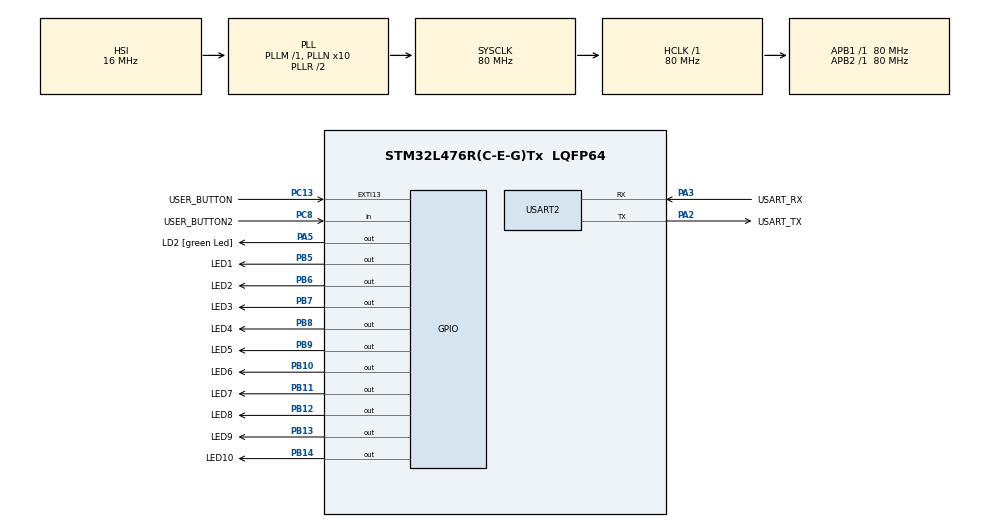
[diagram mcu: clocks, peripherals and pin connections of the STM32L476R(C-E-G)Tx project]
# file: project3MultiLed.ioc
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Mcu.Family=STM32L4
Mcu.Name=STM32L476R(C-E-G)Tx
Mcu.Package=LQFP64
NVIC.PriorityGroup=NVIC_PRIORITYGROUP_4
PA13\ (JTMS-SWDIO).GPIO_Label=TMS
PA13\ (JTMS-SWDIO).Mode=Serial_Wire
PA13\ (JTMS-SWDIO).Signal=SYS_JTMS-SWDIO
PA14\ (JTCK-SWCLK).GPIO_Label=TCK
PA14\ (JTCK-SWCLK).Mode=Serial_Wire
PA14\ (JTCK-SWCLK).Signal=SYS_JTCK-SWCLK
PA2.GPIO_Label=USART_TX
PA2.GPIO_Mode=GPIO_MODE_AF_PP
PA2.GPIO_PuPd=GPIO_NOPULL
PA2.GPIO_Speed=GPIO_SPEED_FREQ_VERY_HIGH
PA2.Mode=Asynchronous
PA2.Signal=USART2_TX
PA3.GPIO_Label=USART_RX
PA3.GPIO_Mode=GPIO_MODE_AF_PP
PA3.GPIO_PuPd=GPIO_NOPULL
PA3.GPIO_Speed=GPIO_SPEED_FREQ_VERY_HIGH
PA3.Mode=Asynchronous
PA3.Signal=USART2_RX
PA5.GPIO_Label=LD2 [green Led]
PA5.GPIO_ModeDefaultOutputPP=GPIO_MODE_OUTPUT_PP
PA5.GPIO_PuPd=GPIO_NOPULL
PA5.GPIO_Speed=GPIO_SPEED_FREQ_LOW
PA5.Signal=GPIO_Output
PB10.GPIO_Label=LED6
PB10.Signal=GPIO_Output
PB11.GPIO_Label=LED7
PB11.Signal=GPIO_Output
PB12.GPIO_Label=LED8
PB12.Signal=GPIO_Output
PB13.GPIO_Label=LED9
PB13.Signal=GPIO_Output
PB14.GPIO_Label=LED10
PB14.Signal=GPIO_Output
PB3\ (JTDO-TRACESWO).GPIO_Label=SWO
PB3\ (JTDO-TRACESWO).Signal=SYS_JTDO-SWO
PB5.GPIO_Label=LED1
PB5.Signal=GPIO_Output
PB6.GPIO_Label=LED2
PB6.Signal=GPIO_Output
PB7.GPIO_Label=LED3
PB7.Signal=GPIO_Output
PB8.GPIO_Label=LED4
PB8.Signal=GPIO_Output
PB9.GPIO_Label=LED5
PB9.Signal=GPIO_Output
PC13.GPIO_Label=USER_BUTTON
PC13.GPIO_ModeDefaultEXTI=GPIO_MODE_IT_FALLING
PC13.GPIO_PuPd=GPIO_NOPULL
PC13.Signal=GPXTI13
PC14-OSC32_IN\ (PC14).Mode=LSE-External-Oscillator
PC14-OSC32_IN\ (PC14).Signal=RCC_OSC32_IN
PC15-OSC32_OUT\ (PC15).Mode=LSE-External-Oscillator
PC15-OSC32_OUT\ (PC15).Signal=RCC_OSC32_OUT
PC8.GPIO_Label=USER_BUTTON2
PC8.GPIO_PuPd=GPIO_PULLUP
PC8.Signal=GPIO_Input
PH0-OSC_IN\ (PH0).Signal=RCC_OSC_IN
PH1-OSC_OUT\ (PH1).Signal=RCC_OSC_OUT
ProjectManager.HeapSize=0x200
ProjectManager.StackSize=0x400
ProjectManager.TargetToolchain=STM32CubeIDE
RCC.ADCFreq_Value=64000000
RCC.AHBFreq_Value=80000000
RCC.APB1Freq_Value=80000000
RCC.APB1TimFreq_Value=80000000
RCC.APB2Freq_Value=80000000
RCC.APB2TimFreq_Value=80000000
RCC.CortexFreq_Value=80000000
RCC.HCLKFreq_Value=80000000
RCC.HSE_VALUE=8000000
RCC.HSI_VALUE=16000000
RCC.MSI_VALUE=4000000
RCC.PLLN=10
RCC.PLLSourceVirtual=RCC_PLLSOURCE_HSI
RCC.PREFETCH_ENABLE=1
RCC.SYSCLKFreq_VALUE=80000000
RCC.SYSCLKSource=RCC_SYSCLKSOURCE_PLLCLK
RCC.USBFreq_Value=64000000
RCC.VCOOutputFreq_Value=160000000
USART2.VirtualMode-Asynchronous=VM_ASYNC
board=NUCLEO-L476RG

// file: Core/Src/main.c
/* USER CODE BEGIN Header */
/**
  ******************************************************************************
  * @file           : main.c
  * @brief          : Main program body
  ******************************************************************************
  * @attention
  *
  * Copyright (c) 2024 STMicroelectronics.
  * All rights reserved.
  *
  * This software is licensed under terms that can be found in the LICENSE file
  * in the root directory of this software component.
  * If no LICENSE file comes with this software, it is provided AS-IS.
  *
  ******************************************************************************
  */
/* USER CODE END Header */
#include "main.h"
/* USER CODE BEGIN Includes */
#include <stdbool.h>
/* USER CODE END Includes */

/* USER CODE BEGIN PTD */

typedef struct {
	GPIO_TypeDef* port;
	uint16_t pin;
}pin_t;

/* USER CODE END PTD */

UART_HandleTypeDef huart2;

/* USER CODE BEGIN PV */

static const pin_t LED[] = {
		{ LED1_GPIO_Port, LED1_Pin },
		{ LED2_GPIO_Port, LED2_Pin },
		{ LED3_GPIO_Port, LED3_Pin },
		{ LED4_GPIO_Port, LED4_Pin },
		{ LED5_GPIO_Port, LED5_Pin },
		{ LED6_GPIO_Port, LED6_Pin },
		{ LED7_GPIO_Port, LED7_Pin },
		{ LED8_GPIO_Port, LED8_Pin },
		{ LED9_GPIO_Port, LED9_Pin },
		{ LED10_GPIO_Port, LED10_Pin },
};

/* USER CODE END PV */

void SystemClock_Config(void);
static void MX_GPIO_Init(void);
static void MX_USART2_UART_Init(void);
/* USER CODE BEGIN PFP */
void led_set(int led, bool turn_on);
bool is_button_pressed(int button);
/* USER CODE END PFP */

/* USER CODE BEGIN 0 */

void led_set(int led, bool turn_on)
{
	GPIO_PinState state = (turn_on) ? GPIO_PIN_SET : GPIO_PIN_RESET;

	if (led >= 0 && led < 10) {
		HAL_GPIO_WritePin(LED[led].port, LED[led].pin, state);
        }
}

bool is_button_pressed(int button) {
  switch (button) {
  case 0:
    if (HAL_GPIO_ReadPin(USER_BUTTON_GPIO_Port, USER_BUTTON_Pin) == GPIO_PIN_RESET) {
      return true;
    } else {
      return false;
    }
  case 1:
    if (HAL_GPIO_ReadPin(USER_BUTTON2_GPIO_Port, USER_BUTTON2_Pin) == GPIO_PIN_RESET) {
      return true;
    } else {
      return false;
    }

  default:
    return false;
  }
}
/* USER CODE END 0 */

int main(void)
{

  /* MCU Configuration--------------------------------------------------------*/

  /* Reset of all peripherals, Initializes the Flash interface and the Systick. */
  HAL_Init();

  /* Configure the system clock */
  SystemClock_Config();

  /* Initialize all configured peripherals */
  MX_GPIO_Init();
  MX_USART2_UART_Init();

  /* Infinite loop */
  /* USER CODE BEGIN WHILE */
  int led = 0;
  led_set(led, true);
  while (1)
  {
    // sprawdź czy przycisk jest wciśnięty
    if (is_button_pressed(0)) {
      // jeśli tak to zgaś aktualną diodę
      led_set(led, false);
      // wybierz kolejną
      if (++led >= 10)
        led = 0;
      // zapal nową diodę
      led_set(led, true);

      // czekamy na zwolnienie przycisku
      while (is_button_pressed(0))
        {}
    }

    // sprawdź czy drugi przycisk jest wciśnięty
    if (is_button_pressed(1)) {
      // jeśli tak to zgaś aktualną diodę
      led_set(led, false);
      // wybierz kolejną
      if (--led < 0)
        led = 9;
      // zapal nową diodę
      led_set(led, true);

      // oczekiwanie na ustanie drgań styków
      HAL_Delay(20);

      // czekamy na zwolnienie przycisku
      while (is_button_pressed(1))
        {}
      // opóźnienie na wypadek drgań po zwolnieniu przycisku
      HAL_Delay(20);
    }
    /* USER CODE END WHILE */

  }
}

void SystemClock_Config(void)
{
  RCC_OscInitTypeDef RCC_OscInitStruct = {0};
  RCC_ClkInitTypeDef RCC_ClkInitStruct = {0};

  /** Configure the main internal regulator output voltage
  */
  if (HAL_PWREx_ControlVoltageScaling(PWR_REGULATOR_VOLTAGE_SCALE1) != HAL_OK)
  {
    Error_Handler();
  }

  /** Initializes the RCC Oscillators according to the specified parameters
  * in the RCC_OscInitTypeDef structure.
  */
  RCC_OscInitStruct.OscillatorType = RCC_OSCILLATORTYPE_HSI;
  RCC_OscInitStruct.HSIState = RCC_HSI_ON;
  RCC_OscInitStruct.HSICalibrationValue = RCC_HSICALIBRATION_DEFAULT;
  RCC_OscInitStruct.PLL.PLLState = RCC_PLL_ON;
  RCC_OscInitStruct.PLL.PLLSource = RCC_PLLSOURCE_HSI;
  RCC_OscInitStruct.PLL.PLLM = 1;
  RCC_OscInitStruct.PLL.PLLN = 10;
  RCC_OscInitStruct.PLL.PLLP = RCC_PLLP_DIV7;
  RCC_OscInitStruct.PLL.PLLQ = RCC_PLLQ_DIV2;
  RCC_OscInitStruct.PLL.PLLR = RCC_PLLR_DIV2;
  if (HAL_RCC_OscConfig(&RCC_OscInitStruct) != HAL_OK)
  {
    Error_Handler();
  }

  /** Initializes the CPU, AHB and APB buses clocks
  */
  RCC_ClkInitStruct.ClockType = RCC_CLOCKTYPE_HCLK|RCC_CLOCKTYPE_SYSCLK
                              |RCC_CLOCKTYPE_PCLK1|RCC_CLOCKTYPE_PCLK2;
  RCC_ClkInitStruct.SYSCLKSource = RCC_SYSCLKSOURCE_PLLCLK;
  RCC_ClkInitStruct.AHBCLKDivider = RCC_SYSCLK_DIV1;
  RCC_ClkInitStruct.APB1CLKDivider = RCC_HCLK_DIV1;
  RCC_ClkInitStruct.APB2CLKDivider = RCC_HCLK_DIV1;

  if (HAL_RCC_ClockConfig(&RCC_ClkInitStruct, FLASH_LATENCY_4) != HAL_OK)
  {
    Error_Handler();
  }
}

static void MX_USART2_UART_Init(void)
{

  huart2.Instance = USART2;
  huart2.Init.BaudRate = 115200;
  huart2.Init.WordLength = UART_WORDLENGTH_8B;
  huart2.Init.StopBits = UART_STOPBITS_1;
  huart2.Init.Parity = UART_PARITY_NONE;
  huart2.Init.Mode = UART_MODE_TX_RX;
  huart2.Init.HwFlowCtl = UART_HWCONTROL_NONE;
  huart2.Init.OverSampling = UART_OVERSAMPLING_16;
  huart2.Init.OneBitSampling = UART_ONE_BIT_SAMPLE_DISABLE;
  huart2.AdvancedInit.AdvFeatureInit = UART_ADVFEATURE_NO_INIT;
  if (HAL_UART_Init(&huart2) != HAL_OK)
  {
    Error_Handler();
  }

}

static void MX_GPIO_Init(void)
{
  GPIO_InitTypeDef GPIO_InitStruct = {0};

  /* GPIO Ports Clock Enable */
  __HAL_RCC_GPIOC_CLK_ENABLE();
  __HAL_RCC_GPIOH_CLK_ENABLE();
  __HAL_RCC_GPIOA_CLK_ENABLE();
  __HAL_RCC_GPIOB_CLK_ENABLE();

  /*Configure GPIO pin Output Level */
  HAL_GPIO_WritePin(LD2_GPIO_Port, LD2_Pin, GPIO_PIN_RESET);

  /*Configure GPIO pin Output Level */
  HAL_GPIO_WritePin(GPIOB, LED6_Pin|LED7_Pin|LED8_Pin|LED9_Pin
                          |LED10_Pin|LED1_Pin|LED2_Pin|LED3_Pin
                          |LED4_Pin|LED5_Pin, GPIO_PIN_RESET);

  /*Configure GPIO pin : USER_BUTTON_Pin */
  GPIO_InitStruct.Pin = USER_BUTTON_Pin;
  GPIO_InitStruct.Mode = GPIO_MODE_IT_FALLING;
  GPIO_InitStruct.Pull = GPIO_NOPULL;
  HAL_GPIO_Init(USER_BUTTON_GPIO_Port, &GPIO_InitStruct);

  /*Configure GPIO pin : LD2_Pin */
  GPIO_InitStruct.Pin = LD2_Pin;
  GPIO_InitStruct.Mode = GPIO_MODE_OUTPUT_PP;
  GPIO_InitStruct.Pull = GPIO_NOPULL;
  GPIO_InitStruct.Speed = GPIO_SPEED_FREQ_LOW;
  HAL_GPIO_Init(LD2_GPIO_Port, &GPIO_InitStruct);

  /*Configure GPIO pins : LED6_Pin LED7_Pin LED8_Pin LED9_Pin
                           LED10_Pin LED1_Pin LED2_Pin LED3_Pin
                           LED4_Pin LED5_Pin */
  GPIO_InitStruct.Pin = LED6_Pin|LED7_Pin|LED8_Pin|LED9_Pin
                          |LED10_Pin|LED1_Pin|LED2_Pin|LED3_Pin
                          |LED4_Pin|LED5_Pin;
  GPIO_InitStruct.Mode = GPIO_MODE_OUTPUT_PP;
  GPIO_InitStruct.Pull = GPIO_NOPULL;
  GPIO_InitStruct.Speed = GPIO_SPEED_FREQ_LOW;
  HAL_GPIO_Init(GPIOB, &GPIO_InitStruct);

  /*Configure GPIO pin : USER_BUTTON2_Pin */
  GPIO_InitStruct.Pin = USER_BUTTON2_Pin;
  GPIO_InitStruct.Mode = GPIO_MODE_INPUT;
  GPIO_InitStruct.Pull = GPIO_PULLUP;
  HAL_GPIO_Init(USER_BUTTON2_GPIO_Port, &GPIO_InitStruct);

}

void Error_Handler(void)
{
  __disable_irq();
  while (1)
  {
  }
}
